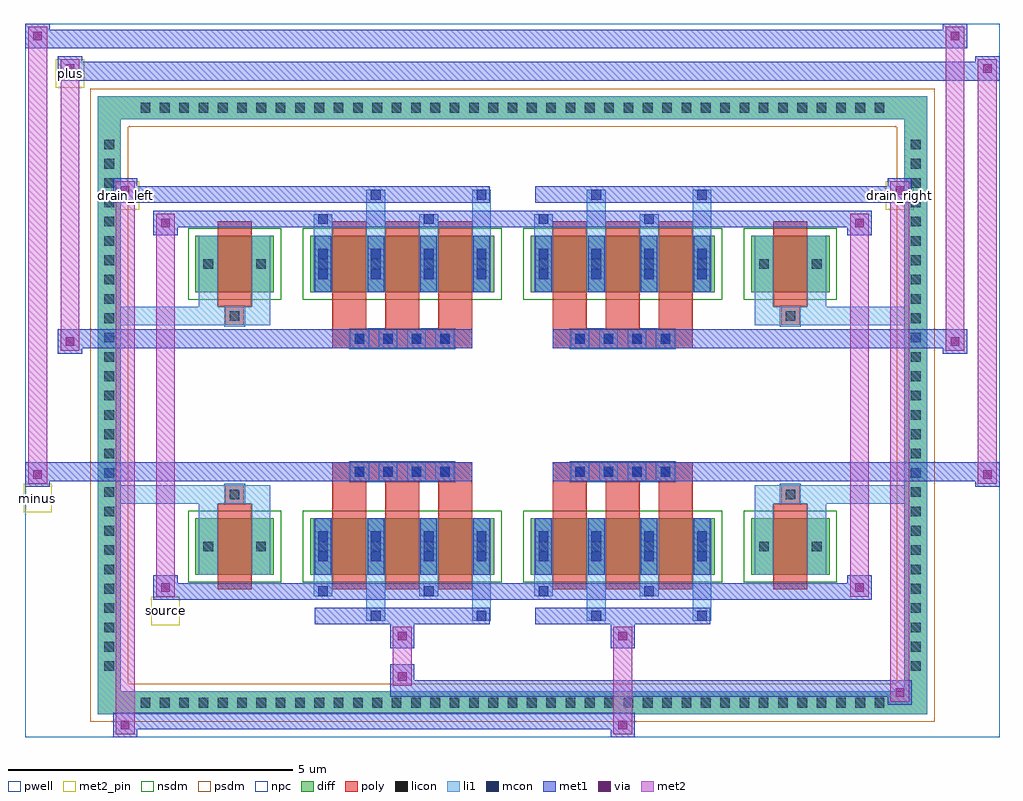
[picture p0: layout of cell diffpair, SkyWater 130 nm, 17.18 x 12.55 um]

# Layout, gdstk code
import gdstk
lib = gdstk.Library(unit=1e-6, precision=5e-09)
def R(c, l, rs):  # rectangles x0, y0, x1, y1
    for r in rs: c.add(gdstk.rectangle(r[:2], r[2:], *l))
def A(c, l, x, y, w, h, nx, ny, dx, dy):  # array of equal rectangles
    R(c, l, [(x+i*dx, y+j*dy, x+i*dx+w, y+j*dy+h) for i in range(nx) for j in range(ny)])
def P(c, l, *ps):  # polygons
    for p in ps: c.add(gdstk.Polygon(p, *l))
pwell = (64, 44)
diff = (65, 20)
poly = (66, 20)
licon = (66, 44)
li1 = (67, 20)
mcon = (67, 44)
met1 = (68, 20)
via = (68, 44)
met2_pin = (69, 16)
met2 = (69, 20)
nsdm = (93, 44)
psdm = (94, 20)
npc = (95, 20)

diffpair = lib.new_cell('diffpair')
R(diffpair, pwell, [(-8.57,-5.84,8.57,6.71), (-5.89,-4.03,-0.01,-0.805), (0.01,-4.03,5.89,-0.805), (-5.89,0.805,-0.01,4.03), (0.01,0.805,5.89,4.03)])
A(diffpair, diff, -6.665, -5.44, 0.41, 0.41, 39, 2, 0.34, 10.47)
A(diffpair, diff, -7.3, -4.795, 0.41, 0.41, 1, 28, 0, 0.34)
A(diffpair, diff, 6.89, -4.795, 0.41, 0.41, 1, 28, 0, 0.34)
R(diffpair, diff, [(-6.665,-5.44,6.665,-5.03), (-7.3,-4.795,-6.89,4.795), (6.89,-4.795,7.3,4.795), (-5.58,-2.985,-4.2,-1.985), (-3.56,-2.985,-0.32,-1.985), (0.32,-2.985,3.56,-1.985), (4.2,-2.985,5.58,-1.985), (-5.58,1.985,-4.2,2.985), (-3.56,1.985,-0.32,2.985), (0.32,1.985,3.56,2.985), (4.2,1.985,5.58,2.985), (-6.665,5.03,6.665,5.44)])
P(diffpair, diff, [(7.3,5.44),(-7.3,5.44),(-7.3,-5.03),(-6.89,-5.03),(-6.89,5.03),(6.89,5.03),(6.89,-5.03),(-6.89,-5.03),(-7.3,-5.03),(-7.3,-5.44),(7.3,-5.44)])
A(diffpair, poly, -3.17, -3.235, 0.6, 1.5, 3, 2, 0.93, 4.97)
A(diffpair, poly, 0.71, -3.235, 0.6, 1.5, 3, 2, 0.93, 4.97)
A(diffpair, poly, -3.17, -1.735, 0.6, 0.4, 3, 2, 0.93, 3.07)
A(diffpair, poly, 0.71, -1.735, 0.6, 0.4, 3, 2, 0.93, 3.07)
A(diffpair, poly, -2.855, -1.335, 0.33, 0.33, 4, 2, 0.5, 2.34)
A(diffpair, poly, 1.025, -1.335, 0.33, 0.33, 4, 2, 0.5, 2.34)
R(diffpair, poly, [(-5.19,-3.235,-4.59,-1.735), (4.59,-3.235,5.19,-1.735), (-5.055,-1.735,-4.725,-1.405), (-5.055,-1.735,-4.725,-1.405), (4.725,-1.735,5.055,-1.405), (4.725,-1.735,5.055,-1.405), (-3.17,-1.335,-0.71,-1.005), (0.71,-1.335,3.17,-1.005), (-3.17,1.005,-0.71,1.335), (0.71,1.005,3.17,1.335), (-5.055,1.405,-4.725,1.735), (-5.055,1.405,-4.725,1.735), (4.725,1.405,5.055,1.735), (4.725,1.405,5.055,1.735), (-5.19,1.735,-4.59,3.235), (4.59,1.735,5.19,3.235)])
A(diffpair, licon, -6.545, -5.32, 0.17, 0.17, 39, 2, 0.34, 10.47)
A(diffpair, licon, -7.18, -4.675, 0.17, 0.17, 1, 28, 0, 0.34)
A(diffpair, licon, 7.01, -4.675, 0.17, 0.17, 1, 28, 0, 0.34)
A(diffpair, licon, -3.42, -2.57, 0.17, 0.17, 4, 2, 0.93, 4.97)
A(diffpair, licon, 0.46, -2.57, 0.17, 0.17, 4, 2, 0.93, 4.97)
A(diffpair, licon, -2.775, -1.255, 0.17, 0.17, 4, 2, 0.5, 2.34)
A(diffpair, licon, 1.105, -1.255, 0.17, 0.17, 4, 2, 0.5, 2.34)
R(diffpair, licon, [(-5.44,-2.57,-5.27,-2.4), (-4.51,-2.57,-4.34,-2.4), (4.34,-2.57,4.51,-2.4), (5.27,-2.57,5.44,-2.4), (-4.975,-1.655,-4.805,-1.485), (4.805,-1.655,4.975,-1.485), (-4.975,1.485,-4.805,1.655), (4.805,1.485,4.975,1.655), (-5.44,2.4,-5.27,2.57), (-4.51,2.4,-4.34,2.57), (4.34,2.4,4.51,2.57), (5.27,2.4,5.44,2.57)])
A(diffpair, li1, -6.625, -5.4, 0.33, 0.33, 39, 2, 0.34, 10.47)
A(diffpair, li1, -7.26, -4.755, 0.33, 0.33, 1, 28, 0, 0.34)
A(diffpair, li1, 6.93, -4.755, 0.33, 0.33, 1, 28, 0, 0.34)
A(diffpair, li1, -3.5, -2.985, 0.33, 1, 4, 2, 0.93, 4.97)
A(diffpair, li1, 0.38, -2.985, 0.33, 1, 4, 2, 0.93, 4.97)
A(diffpair, li1, -3.42, -2.75, 0.17, 0.17, 4, 2, 0.93, 0.36)
A(diffpair, li1, -3.42, -2.75, 0.17, 0.53, 4, 2, 0.93, 4.97)
A(diffpair, li1, 0.46, -2.75, 0.17, 0.17, 4, 2, 0.93, 0.36)
A(diffpair, li1, 0.46, -2.75, 0.17, 0.53, 4, 2, 0.93, 4.97)
A(diffpair, li1, -3.5, -2.65, 0.33, 0.33, 4, 2, 0.93, 4.97)
A(diffpair, li1, 0.38, -2.65, 0.33, 0.33, 4, 2, 0.93, 4.97)
A(diffpair, li1, -2.855, -1.335, 0.33, 0.33, 4, 2, 0.5, 2.34)
A(diffpair, li1, 1.025, -1.335, 0.33, 0.33, 4, 2, 0.5, 2.34)
A(diffpair, li1, -3.42, 2.22, 0.17, 0.17, 4, 2, 0.93, 0.36)
A(diffpair, li1, 0.46, 2.22, 0.17, 0.17, 4, 2, 0.93, 0.36)
R(diffpair, li1, [(-7.3,-5.44,-6.89,-5.03), (-7.3,-5.44,-6.89,-5.03), (-6.89,-5.44,6.89,-5.03), (6.89,-5.44,7.3,-5.03), (6.89,-5.44,7.3,-5.03), (-7.3,-5.03,-6.89,5.03), (6.89,-5.03,7.3,5.03), (-2.57,-3.79,-2.24,-2.985), (-2.49,-3.79,-2.32,-3.62), (-0.71,-3.79,-0.38,-2.985), (-0.63,-3.79,-0.46,-3.62), (1.31,-3.79,1.64,-2.985), (1.39,-3.79,1.56,-3.62), (3.17,-3.79,3.5,-2.985), (3.25,-3.79,3.42,-3.62), (-3.5,-3.36,-3.17,-2.985), (-3.42,-3.36,-3.25,-3.19), (-1.64,-3.36,-1.31,-2.985), (-1.56,-3.36,-1.39,-3.19), (0.38,-3.36,0.71,-2.985), (0.46,-3.36,0.63,-3.19), (2.24,-3.36,2.57,-2.985), (2.32,-3.36,2.49,-3.19), (-5.52,-2.985,-5.19,-1.985), (-4.59,-2.985,-4.26,-1.985), (4.26,-2.985,4.59,-1.985), (5.19,-2.985,5.52,-1.985), (-5.52,-2.65,-5.19,-2.32), (-4.59,-2.65,-4.26,-2.32), (4.26,-2.65,4.59,-2.32), (5.19,-2.65,5.52,-2.32), (-5.52,-1.985,-5.19,-1.405), (-4.59,-1.985,-4.26,-1.405), (4.26,-1.985,4.59,-1.405), (5.19,-1.985,5.52,-1.405), (-7.3,-1.735,-5.055,-1.405), (-5.52,-1.735,-5.055,-1.405), (-5.055,-1.735,-4.725,-1.405), (-4.725,-1.735,-4.26,-1.405), (4.26,-1.735,4.725,-1.405), (4.725,-1.735,5.055,-1.405), (4.725,-1.735,7.3,-1.405), (5.055,-1.735,5.52,-1.405), (-7.3,1.405,-5.055,1.735), (-5.52,1.405,-5.055,1.735), (-5.52,1.405,-5.19,1.985), (-5.055,1.405,-4.725,1.735), (-4.725,1.405,-4.26,1.735), (-4.59,1.405,-4.26,1.985), (4.26,1.405,4.725,1.735), (4.26,1.405,4.59,1.985), (4.725,1.405,5.055,1.735), (4.725,1.405,7.3,1.735), (5.055,1.405,5.52,1.735), (5.19,1.405,5.52,1.985), (-5.52,1.985,-5.19,2.985), (-4.59,1.985,-4.26,2.985), (4.26,1.985,4.59,2.985), (5.19,1.985,5.52,2.985), (-5.52,2.32,-5.19,2.65), (-4.59,2.32,-4.26,2.65), (4.26,2.32,4.59,2.65), (5.19,2.32,5.52,2.65), (-3.5,2.985,-3.17,3.36), (-2.57,2.985,-2.24,3.79), (-1.64,2.985,-1.31,3.36), (-0.71,2.985,-0.38,3.79), (0.38,2.985,0.71,3.36), (1.31,2.985,1.64,3.79), (2.24,2.985,2.57,3.36), (3.17,2.985,3.5,3.79), (-3.42,3.19,-3.25,3.36), (-1.56,3.19,-1.39,3.36), (0.46,3.19,0.63,3.36), (2.32,3.19,2.49,3.36), (-2.49,3.62,-2.32,3.79), (-0.63,3.62,-0.46,3.79), (1.39,3.62,1.56,3.79), (3.25,3.62,3.42,3.79), (-7.3,5.03,-6.89,5.44), (-7.3,5.03,-6.89,5.44), (-6.89,5.03,6.89,5.44), (6.89,5.03,7.3,5.44), (6.89,5.03,7.3,5.44)])
A(diffpair, mcon, -3.42, -2.75, 0.17, 0.17, 4, 2, 0.93, 0.36)
A(diffpair, mcon, 0.46, -2.75, 0.17, 0.17, 4, 2, 0.93, 0.36)
A(diffpair, mcon, -2.775, -1.255, 0.17, 0.17, 4, 2, 0.5, 2.34)
A(diffpair, mcon, 1.105, -1.255, 0.17, 0.17, 4, 2, 0.5, 2.34)
A(diffpair, mcon, -3.42, 2.22, 0.17, 0.17, 4, 2, 0.93, 0.36)
A(diffpair, mcon, 0.46, 2.22, 0.17, 0.17, 4, 2, 0.93, 0.36)
R(diffpair, mcon, [(-2.49,-3.79,-2.32,-3.62), (-0.63,-3.79,-0.46,-3.62), (1.39,-3.79,1.56,-3.62), (3.25,-3.79,3.42,-3.62), (-3.42,-3.36,-3.25,-3.19), (-1.56,-3.36,-1.39,-3.19), (0.46,-3.36,0.63,-3.19), (2.32,-3.36,2.49,-3.19), (-3.42,3.19,-3.25,3.36), (-1.56,3.19,-1.39,3.36), (0.46,3.19,0.63,3.36), (2.32,3.19,2.49,3.36), (-2.49,3.62,-2.32,3.79), (-0.63,3.62,-0.46,3.79), (1.39,3.62,1.56,3.79), (3.25,3.62,3.42,3.79)])
A(diffpair, met1, -3.48, -2.985, 0.29, 1, 4, 2, 0.93, 4.97)
A(diffpair, met1, 0.4, -2.985, 0.29, 1, 4, 2, 0.93, 4.97)
A(diffpair, met1, -3.48, -2.81, 0.29, 0.29, 4, 2, 0.93, 0.36)
A(diffpair, met1, 0.4, -2.81, 0.29, 0.29, 4, 2, 0.93, 0.36)
A(diffpair, met1, -2.835, -1.315, 0.29, 0.29, 4, 2, 0.5, 2.34)
A(diffpair, met1, 1.045, -1.315, 0.29, 0.29, 4, 2, 0.5, 2.34)
A(diffpair, met1, -3.48, 2.16, 0.29, 0.29, 4, 2, 0.93, 0.36)
A(diffpair, met1, 0.4, 2.16, 0.29, 0.29, 4, 2, 0.93, 0.36)
R(diffpair, met1, [(-7.03,-5.84,-6.6,-5.41), (1.725,-5.84,2.155,-5.41), (-7.03,-5.7,2.155,-5.41), (6.6,-5.27,7.03,-4.84), (-2.155,-5.13,7.03,-4.84), (-2.155,-4.99,-1.725,-4.56), (-2.155,-4.28,-1.725,-3.85), (1.725,-4.28,2.155,-3.85), (-3.48,-3.85,-0.4,-3.56), (-2.55,-3.85,-2.26,-3.56), (-0.69,-3.85,-0.4,-3.56), (0.4,-3.85,3.48,-3.56), (1.33,-3.85,1.62,-3.56), (3.19,-3.85,3.48,-3.56), (-6.32,-3.42,-5.89,-2.99), (-6.32,-3.42,-3.48,-3.13), (-3.48,-3.42,-3.19,-3.13), (-3.48,-3.42,-0.4,-3.13), (-1.62,-3.42,-1.33,-3.13), (-0.4,-3.42,0.4,-3.13), (0.4,-3.42,0.69,-3.13), (0.4,-3.42,3.48,-3.13), (2.26,-3.42,2.55,-3.13), (3.48,-3.42,6.32,-3.13), (5.89,-3.42,6.32,-2.99), (-8.57,-1.435,-8.14,-1.005), (8.14,-1.435,8.57,-1.005), (-8.57,-1.335,-0.71,-1.005), (-3.17,-1.335,-0.71,-1.005), (0.71,-1.335,3.17,-1.005), (0.71,-1.335,8.57,-1.005), (-8,0.905,-7.57,1.335), (7.57,0.905,8,1.335), (-8,1.005,-3.17,1.335), (-3.17,1.005,-0.71,1.335), (0.71,1.005,3.17,1.335), (3.17,1.005,8,1.335), (-6.32,2.99,-5.89,3.42), (5.89,2.99,6.32,3.42), (-6.32,3.13,-3.48,3.42), (-3.48,3.13,-3.19,3.42), (-3.48,3.13,-0.4,3.42), (-1.62,3.13,-1.33,3.42), (-0.4,3.13,0.4,3.42), (0.4,3.13,0.69,3.42), (0.4,3.13,3.48,3.42), (2.26,3.13,2.55,3.42), (3.48,3.13,6.32,3.42), (-7.03,3.56,-6.6,3.99), (-7.03,3.56,-3.48,3.85), (-3.48,3.56,-0.4,3.85), (-2.55,3.56,-2.26,3.85), (-0.69,3.56,-0.4,3.85), (0.4,3.56,3.48,3.85), (1.33,3.56,1.62,3.85), (3.19,3.56,3.48,3.85), (3.48,3.56,7.03,3.85), (6.6,3.56,7.03,3.99), (-8,5.71,-7.57,6.14), (-8,5.71,-5.89,6.04), (-5.89,5.71,5.89,6.04), (5.89,5.71,8.57,6.04), (8.14,5.71,8.57,6.14), (-8.57,6.28,-8.14,6.71), (-8.57,6.28,-5.89,6.61), (-5.89,6.28,5.89,6.61), (5.89,6.28,8,6.61), (7.57,6.28,8,6.71)])
R(diffpair, via, [(-6.89,-5.7,-6.74,-5.55), (1.865,-5.7,2.015,-5.55), (6.74,-5.13,6.89,-4.98), (-2.015,-4.85,-1.865,-4.7), (-2.015,-4.14,-1.865,-3.99), (1.865,-4.14,2.015,-3.99), (-6.18,-3.28,-6.03,-3.13), (6.03,-3.28,6.18,-3.13), (-8.43,-1.295,-8.28,-1.145), (8.28,-1.295,8.43,-1.145), (-7.86,1.045,-7.71,1.195), (7.71,1.045,7.86,1.195), (-6.18,3.13,-6.03,3.28), (6.03,3.13,6.18,3.28), (-6.89,3.7,-6.74,3.85), (6.74,3.7,6.89,3.85), (-7.86,5.85,-7.71,6), (8.28,5.85,8.43,6), (-8.43,6.42,-8.28,6.57), (7.71,6.42,7.86,6.57)])
R(diffpair, met2_pin, [(-6.355,-3.87,-5.855,-3.37), (-8.605,-1.885,-8.105,-1.385), (-7.065,3.44,-6.565,3.94), (6.565,3.44,7.065,3.94), (-8.035,5.59,-7.535,6.09)])
R(diffpair, met2, [(-6.98,-5.79,-6.65,-5.46), (-6.98,-5.79,-6.65,3.94), (1.775,-5.79,2.105,-5.46), (1.775,-5.46,2.105,-4.23), (6.65,-5.22,6.98,-4.89), (6.65,-5.22,6.98,3.94), (-2.105,-4.94,-1.775,-4.61), (-2.105,-4.61,-1.775,-4.23), (-2.105,-4.23,-1.775,-3.9), (1.775,-4.23,2.105,-3.9), (-6.27,-3.37,-5.94,-3.04), (-6.27,-3.37,-5.94,3.37), (5.94,-3.37,6.27,-3.04), (5.94,-3.37,6.27,3.37), (-8.52,-1.385,-8.19,-1.055), (-8.52,-1.385,-8.19,6.66), (8.19,-1.385,8.52,-1.055), (8.19,-1.385,8.52,6.09), (-7.95,0.955,-7.62,1.285), (-7.95,0.955,-7.62,6.09), (7.62,0.955,7.95,1.285), (7.62,0.955,7.95,6.66), (-6.27,3.04,-5.94,3.37), (5.94,3.04,6.27,3.37), (-6.98,3.61,-6.65,3.94), (6.65,3.61,6.98,3.94), (-7.95,5.76,-7.62,6.09), (8.19,5.76,8.52,6.09), (-8.52,6.33,-8.19,6.66), (7.62,6.33,7.95,6.66)])
P(diffpair, met2, [(8.52,-1.385),(8.52,-1.385),(8.52,-1.055),(8.52,-1.055)],
  [(8.52,5.76),(8.52,5.76),(8.52,6.09),(8.52,6.09)],
  [(-8.19,-1.385),(-8.19,-1.385),(-8.19,-1.055),(-8.19,-1.055)],
  [(-8.19,6.33),(-8.19,6.33),(-8.19,6.66),(-8.19,6.66)],
  [(7.95,0.955),(7.95,0.955),(7.95,1.285),(7.95,1.285)],
  [(7.95,6.33),(7.95,6.33),(7.95,6.66),(7.95,6.66)],
  [(-7.62,0.955),(-7.62,0.955),(-7.62,1.285),(-7.62,1.285)],
  [(-7.62,5.76),(-7.62,5.76),(-7.62,6.09),(-7.62,6.09)],
  [(-6.65,-5.79),(-6.65,-5.79),(-6.65,-5.46),(-6.65,-5.46)],
  [(-6.65,3.61),(-6.65,3.61),(-6.65,3.94),(-6.65,3.94)],
  [(6.98,-5.22),(6.98,-5.22),(6.98,-4.89),(6.98,-4.89)],
  [(6.98,3.61),(6.98,3.61),(6.98,3.94),(6.98,3.94)],
  [(-5.94,-3.37),(-5.94,-3.37),(-5.94,-3.04),(-5.94,-3.04)],
  [(-5.94,3.04),(-5.94,3.04),(-5.94,3.37),(-5.94,3.37)],
  [(6.27,-3.37),(6.27,-3.37),(6.27,-3.04),(6.27,-3.04)],
  [(6.27,3.04),(6.27,3.04),(6.27,3.37),(6.27,3.37)])
R(diffpair, nsdm, [(-5.71,-3.115,-4.07,-1.855), (-3.69,-3.115,-0.19,-1.855), (0.19,-3.115,3.69,-1.855), (4.07,-3.115,5.71,-1.855), (-5.71,1.855,-4.07,3.115), (-3.69,1.855,-0.19,3.115), (0.19,1.855,3.69,3.115), (4.07,1.855,5.71,3.115)])
P(diffpair, psdm, [(7.43,5.57),(-7.43,5.57),(-7.43,-4.9),(-6.76,-4.9),(-6.76,4.9),(6.76,4.9),(6.76,-4.9),(-6.76,-4.9),(-7.43,-4.9),(-7.43,-5.57),(7.43,-5.57)])
A(diffpair, npc, -2.875, -1.355, 0.37, 0.37, 4, 2, 0.5, 2.34)
A(diffpair, npc, 1.005, -1.355, 0.37, 0.37, 4, 2, 0.5, 2.34)
R(diffpair, npc, [(-5.075,-1.755,-4.705,-1.385), (4.705,-1.755,5.075,-1.385), (-2.875,-1.355,-2.005,-0.985), (-2.875,-1.355,-2.005,-0.985), (-2.375,-1.355,-1.505,-0.985), (-2.375,-1.355,-1.505,-0.985), (-1.875,-1.355,-1.005,-0.985), (-1.875,-1.355,-1.005,-0.985), (1.005,-1.355,1.875,-0.985), (1.005,-1.355,1.875,-0.985), (1.505,-1.355,2.375,-0.985), (1.505,-1.355,2.375,-0.985), (2.005,-1.355,2.875,-0.985), (2.005,-1.355,2.875,-0.985), (-2.875,0.985,-2.005,1.355), (-2.875,0.985,-2.005,1.355), (-2.375,0.985,-1.505,1.355), (-2.375,0.985,-1.505,1.355), (-1.875,0.985,-1.005,1.355), (-1.875,0.985,-1.005,1.355), (1.005,0.985,1.875,1.355), (1.005,0.985,1.875,1.355), (1.505,0.985,2.375,1.355), (1.505,0.985,2.375,1.355), (2.005,0.985,2.875,1.355), (2.005,0.985,2.875,1.355), (-5.075,1.385,-4.705,1.755), (4.705,1.385,5.075,1.755)])
diffpair.add(gdstk.Label('minus', (-8.355,-1.635), layer=69, texttype=5))
diffpair.add(gdstk.Label('drain_right', (6.815,3.69), layer=69, texttype=5))
diffpair.add(gdstk.Label('drain_left', (-6.815,3.69), layer=69, texttype=5))
diffpair.add(gdstk.Label('source', (-6.105,-3.62), layer=69, texttype=5))
diffpair.add(gdstk.Label('plus', (-7.785,5.84), layer=69, texttype=5))

lib.write_gds('diffpair.gds')
